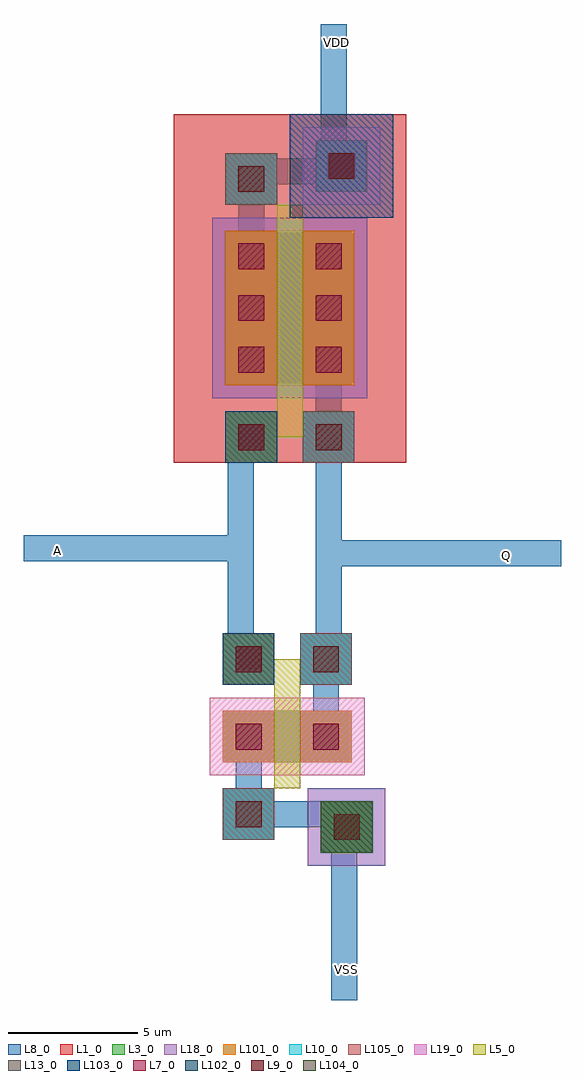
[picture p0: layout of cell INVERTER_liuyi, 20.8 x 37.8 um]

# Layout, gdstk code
import gdstk
lib = gdstk.Library(unit=1e-6, precision=1e-07)
def R(c, l, rs):  # rectangles x0, y0, x1, y1
    for r in rs: c.add(gdstk.rectangle(r[:2], r[2:], *l))
L1_0 = (1, 0)
L3_0 = (3, 0)
L5_0 = (5, 0)
L7_0 = (7, 0)
L8_0 = (8, 0)
L9_0 = (9, 0)
L10_0 = (10, 0)
L13_0 = (13, 0)
L18_0 = (18, 0)
L19_0 = (19, 0)
L101_0 = (101, 0)
L102_0 = (102, 0)
L103_0 = (103, 0)
L104_0 = (104, 0)
L105_0 = (105, 0)

dcont = lib.new_cell('dcont')
R(dcont, L3_0, [(-1,-1,1,1)])
R(dcont, L7_0, [(-0.5,-0.5,0.5,0.5)])
R(dcont, L8_0, [(-1,-1,1,1)])
R(dcont, L13_0, [(-0.5,-0.5,0.5,0.5)])
R(dcont, L101_0, [(-1,-1,1,1)])

pcont = lib.new_cell('pcont')
R(pcont, L5_0, [(-1,-1,1,1)])
R(pcont, L7_0, [(-0.5,-0.5,0.5,0.5)])
R(pcont, L8_0, [(-1,-1,1,1)])
R(pcont, L13_0, [(-0.5,-0.5,0.5,0.5)])
R(pcont, L102_0, [(-1,-1,1,1)])

via = lib.new_cell('Via')
R(via, L8_0, [(-1,-1,1,1)])
R(via, L9_0, [(-0.5,-0.5,0.5,0.5)])
R(via, L10_0, [(-1,-1,1,1)])
R(via, L13_0, [(-0.5,-0.5,0.5,0.5)])
R(via, L105_0, [(-1,-1,1,1)])

dcont1 = lib.new_cell('dcont1')
R(dcont1, L3_0, [(-1,-1,1,1)])
R(dcont1, L7_0, [(-0.5,-0.5,0.5,0.5)])
R(dcont1, L8_0, [(-1,-1,1,1)])
R(dcont1, L13_0, [(-0.5,-0.5,0.5,0.5)])
R(dcont1, L101_0, [(-1,-1,1,1)])

nsubcont = lib.new_cell('nsubcont')
R(nsubcont, L1_0, [(-2,-2,2,2)])
R(nsubcont, L19_0, [(-1.5,-1.5,1.5,1.5)])
R(nsubcont, L103_0, [(-2,-2,2,2)])
nsubcont.add(gdstk.Reference(dcont1, (0,0)))

pch = lib.new_cell('Pch')
R(pch, L1_0, [(-2,0,7,13.5)])
R(pch, L3_0, [(0,3,5,9)])
R(pch, L18_0, [(-0.5,2.5,5.5,9.5)])
pch.add(gdstk.FlexPath([(1,3),(1,9)], 2, ends="flush", simple_path=True, layer=8, datatype=0))  # L8_0
pch.add(gdstk.FlexPath([(4,3),(4,9)], 2, ends="flush", simple_path=True, layer=8, datatype=0))  # L8_0
pch.add(gdstk.FlexPath([(1,8),(1,11)], 1, ends="flush", simple_path=True, layer=8, datatype=0))  # L8_0
pch.add(gdstk.FlexPath([(4,1),(4,4)], 1, ends="flush", simple_path=True, layer=8, datatype=0))  # L8_0
pch.add(gdstk.FlexPath([(2.5,3),(2.5,9)], 1, ends=(1, 1), simple_path=True, layer=5, datatype=0))  # L5_0
pch.add(gdstk.FlexPath([(1,1.5),(2.5,1.5),(2.5,2)], 1, ends="flush", simple_path=True, layer=5, datatype=0))  # L5_0
pch.add(gdstk.Reference(dcont, (1,4)))
pch.add(gdstk.Reference(dcont, (1,6)))
pch.add(gdstk.Reference(dcont, (1,8)))
pch.add(gdstk.Reference(dcont, (4,4)))
pch.add(gdstk.Reference(dcont, (4,6)))
pch.add(gdstk.Reference(dcont, (4,8)))
pch.add(gdstk.Reference(pcont, (1,1)))
pch.add(gdstk.Reference(via, (1,1)))
pch.add(gdstk.Reference(via, (1,11)))
pch.add(gdstk.Reference(via, (4,1)))
pch.add(gdstk.Reference(nsubcont, (4.5,11.5)))
pch.add(gdstk.Reference(via, (4.5,11.5)))

psubcont = lib.new_cell('psubcont')
R(psubcont, L18_0, [(-1.5,-1.5,1.5,1.5)])
R(psubcont, L104_0, [(-1,-1,1,1)])
psubcont.add(gdstk.Reference(dcont1, (0,0)))

nch = lib.new_cell('Nch')
R(nch, L3_0, [(0,3,5,5)])
R(nch, L19_0, [(-0.5,2.5,5.5,5.5)])
nch.add(gdstk.FlexPath([(1,3),(1,5)], 2, ends="flush", simple_path=True, layer=8, datatype=0))  # L8_0
nch.add(gdstk.FlexPath([(4,3),(4,5)], 2, ends="flush", simple_path=True, layer=8, datatype=0))  # L8_0
nch.add(gdstk.FlexPath([(1,1),(1,4)], 1, ends="flush", simple_path=True, layer=8, datatype=0))  # L8_0
nch.add(gdstk.FlexPath([(4,4),(4,7)], 1, ends="flush", simple_path=True, layer=8, datatype=0))  # L8_0
nch.add(gdstk.FlexPath([(2.5,3),(2.5,5)], 1, ends=(1, 1), simple_path=True, layer=5, datatype=0))  # L5_0
nch.add(gdstk.FlexPath([(1,6.5),(2.5,6.5),(2.5,6)], 1, ends="flush", simple_path=True, layer=5, datatype=0))  # L5_0
nch.add(gdstk.Reference(dcont, (1,4)))
nch.add(gdstk.Reference(dcont, (4,4)))
nch.add(gdstk.Reference(pcont, (1,7)))
nch.add(gdstk.Reference(via, (1,7)))
nch.add(gdstk.Reference(via, (1,1)))
nch.add(gdstk.Reference(via, (4,7)))
nch.add(gdstk.Reference(psubcont, (4.8,0.5)))
nch.add(gdstk.Reference(via, (4.8,0.5)))

inverter_liuyi = lib.new_cell('INVERTER_liuyi')
inverter_liuyi.add(gdstk.FlexPath([(2,13.1),(2,7.2)], 1, ends="flush", simple_path=True, layer=8, datatype=0))  # L8_0
inverter_liuyi.add(gdstk.FlexPath([(1.8,-3.4),(1.8,-11.8),(2.3,-11.8)], 1, ends="flush", simple_path=True, layer=8, datatype=0))  # L8_0
inverter_liuyi.add(gdstk.FlexPath([(1.9,-7.4),(10.8,-7.4)], 1, ends="flush", simple_path=True, layer=8, datatype=0))  # L8_0
inverter_liuyi.add(gdstk.FlexPath([(-1.6,-3),(-1.6,-11.7)], 1, ends="flush", simple_path=True, layer=8, datatype=0))  # L8_0
inverter_liuyi.add(gdstk.FlexPath([(-1.4,-7.2),(-10,-7.2)], 1, ends="flush", simple_path=True, layer=8, datatype=0))  # L8_0
inverter_liuyi.add(gdstk.FlexPath([(2.4,-18),(2.4,-24.7)], 1, ends="flush", simple_path=True, layer=8, datatype=0))  # L8_0
inverter_liuyi.add(gdstk.FlexPath([(-1,-17.5),(2.4,-17.5),(2.4,-18.1),(2.4,-18.1)], 1, ends="flush", simple_path=True, layer=8, datatype=0))  # L8_0
inverter_liuyi.add(gdstk.FlexPath([(-1.4,7.4),(2,7.4)], 1, ends="flush", simple_path=True, layer=8, datatype=0))  # L8_0
inverter_liuyi.add(gdstk.Reference(pch, (-2.2,-3.9)))
inverter_liuyi.add(gdstk.Reference(nch, (-2.3,-18.5)))
inverter_liuyi.add(gdstk.Label('Q', (8.7,-7.5), layer=8, texttype=0))
inverter_liuyi.add(gdstk.Label('A', (-8.7,-7.3), layer=8, texttype=0))
inverter_liuyi.add(gdstk.Label('VDD', (2.1,12.4), layer=8, texttype=0))
inverter_liuyi.add(gdstk.Label('VSS', (2.5,-23.5), layer=8, texttype=0))

lib.write_gds('INVERTER_liuyi.gds')
